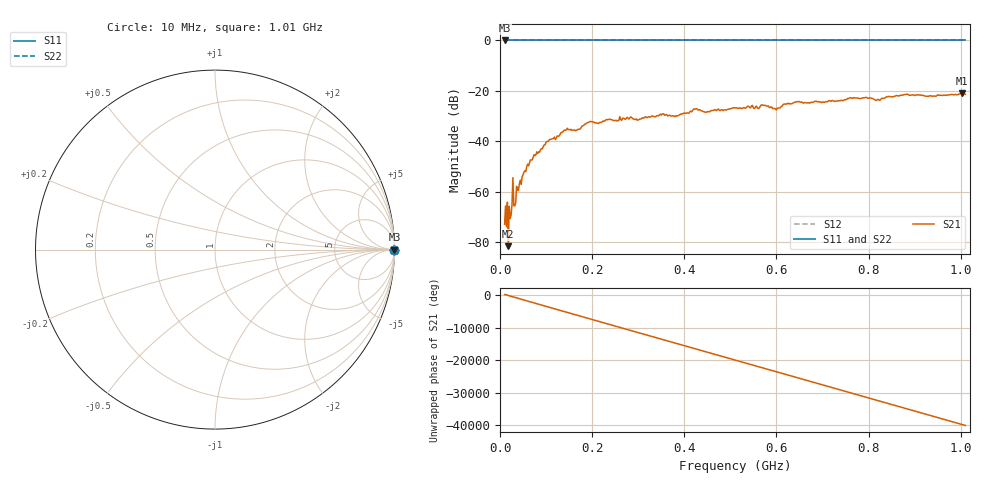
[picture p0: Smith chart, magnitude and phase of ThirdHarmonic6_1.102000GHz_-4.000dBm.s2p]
! 8/16/2025 10:22:30 AM
! C:\ANRITSUVNA\TEMP\TEMP.S2P
! CHANNEL.1
! TR.MEASUREMENT
! RAW.DATA
! RF.CORRECTION.OFF
! AVERAGING.OFF
! IF.BANDWIDTH: 5KHZ
! SWEEPTYPE:  FREQ.SWEEP(Linear)
! Reference Plane Port Info
! PORT:  PORT1  PORT2
! DISTANCE:  0  m  0  m
! TIME:  0  s  0  s
! PHASE.OFFSET:  0  deg.  0  deg.
! LOSS:  0  dB  0  dB
! REF.LOSS:  0  dB  0  dB
! REF.FREQ:  0  Hz  0  Hz
! Power Info
! POWER:  -20  dBm  -20  dBm
! EFF.POWER:  -20  dBm  -20  dBm
! SOURCE.ATTEN:  0  dB  0  dB
! TEST.ATTEN:  0  dB  0  dB
# GHZ S RI R 50.0
! FREQ.GHZ  S11RE  S11IM  S21RE  S21IM  S12RE  S12IM  S22RE  S22IM
!; PortSelection: Port_12
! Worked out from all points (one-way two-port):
!   501 points, 10 MHz to 1.01 GHz, reference 50 ohm
!   highest |S21| = -20.89 dB at 1.002 GHz (marker M1); lowest = -81.5 dB at 18 MHz (marker M2)
!   lowest |S11| = 0.0 dB at 10 MHz (marker M3)
!   |S11| at or under -10 dB: nowhere
!   |S22| runs from 0.0 to 0.0 dB; largest |S21 - S12| = 1.1
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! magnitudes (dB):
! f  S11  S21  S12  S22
! 10 MHz  0.0  -72.8  0.0  0.0
! 12 MHz  0.0  -65.6  0.0  0.0
! 18 MHz  0.0  -81.5  0.0  0.0
! 22 MHz  0.0  -70.5  0.0  0.0
! 24 MHz  0.0  -69.3  0.0  0.0
! 32 MHz  0.0  -65.5  0.0  0.0
! 34 MHz  0.0  -64.4  0.0  0.0
! 40 MHz  0.0  -59.4  0.0  0.0
! 76 MHz  0.0  -45.6  0.0  0.0
! 104 MHz  0.0  -40.0  0.0  0.0
! 142 MHz  0.0  -35.6  0.0  0.0
! 178 MHz  0.0  -33.9  0.0  0.0
! 196 MHz  0.0  -32.1  0.0  0.0
! 344 MHz  0.0  -29.9  0.0  0.0
! 510 MHz  0.0  -26.7  0.0  0.0
! 572 MHz  0.0  -25.8  0.0  0.0
! 596 MHz  0.0  -26.9  0.0  0.0
! 644 MHz  0.0  -24.3  0.0  0.0
! 678 MHz  0.0  -24.5  0.0  0.0
! 844 MHz  0.0  -22.2  0.0  0.0
! 1.002 GHz  0.0  -20.9  0.0  0.0
! 1.01 GHz  0.0  -21.4  0.0  0.0
